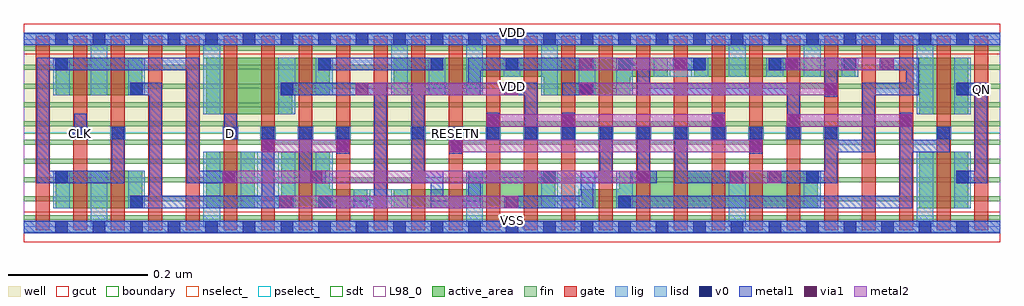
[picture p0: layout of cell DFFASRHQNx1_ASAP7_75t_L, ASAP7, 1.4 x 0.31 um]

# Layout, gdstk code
import gdstk
lib = gdstk.Library(unit=1e-6, precision=2.5e-10)
def R(c, l, rs):  # rectangles x0, y0, x1, y1
    for r in rs: c.add(gdstk.rectangle(r[:2], r[2:], *l))
def A(c, l, x, y, w, h, nx, ny, dx, dy):  # array of equal rectangles
    R(c, l, [(x+i*dx, y+j*dy, x+i*dx+w, y+j*dy+h) for i in range(nx) for j in range(ny)])
def P(c, l, *ps):  # polygons
    for p in ps: c.add(gdstk.Polygon(p, *l))
well = (1, 0)
fin = (2, 0)
gate = (7, 0)
gcut = (10, 0)
active_area = (11, 0)
nselect_ = (12, 0)
pselect_ = (13, 0)
lig = (16, 0)
lisd = (17, 0)
v0 = (18, 0)
metal1 = (19, 0)
metal2 = (20, 0)
via1 = (21, 0)
sdt = (88, 0)
L98_0 = (98, 0)
boundary = (100, 0)

dffasrhqnx1_asap7_75t_l = lib.new_cell('DFFASRHQNx1_ASAP7_75t_L')
R(dffasrhqnx1_asap7_75t_l, well, [(0,0.135,1.404,0.27)])
A(dffasrhqnx1_asap7_75t_l, fin, 0, 0.01, 1.404, 0.007, 1, 10, 0, 0.027)
A(dffasrhqnx1_asap7_75t_l, gate, 0.017, -0.005, 0.02, 0.28, 26, 1, 0.054, 0)
R(dffasrhqnx1_asap7_75t_l, gcut, [(0,-0.022,1.404,0.022), (0,0.248,1.404,0.292)])
R(dffasrhqnx1_asap7_75t_l, active_area, [(0.046,0.027,0.17,0.081), (0.262,0.027,0.332,0.108), (1.288,0.027,1.358,0.108), (1.288,0.162,1.358,0.243), (0.046,0.189,0.17,0.243), (0.964,0.216,1.196,0.243)])
P(dffasrhqnx1_asap7_75t_l, active_area, [(0.37,0.027),(0.37,0.108),(0.44,0.108),(0.44,0.054),(0.494,0.054),(0.494,0.027)],
  [(0.532,0.027),(0.532,0.054),(0.64,0.054),(0.64,0.081),(0.764,0.081),(0.764,0.027)],
  [(0.802,0.027),(0.802,0.054),(0.856,0.054),(0.856,0.081),(1.142,0.081),(1.142,0.027)],
  [(0.262,0.162),(0.262,0.243),(0.44,0.243),(0.44,0.189),(0.386,0.189),(0.386,0.162)],
  [(0.532,0.189),(0.532,0.243),(0.926,0.243),(0.926,0.216),(0.872,0.216),(0.872,0.189),(0.748,0.189),(0.748,0.216),(0.656,0.216),(0.656,0.189)])
R(dffasrhqnx1_asap7_75t_l, nselect_, [(0,0,1.404,0.135)])
R(dffasrhqnx1_asap7_75t_l, pselect_, [(0,0.135,1.404,0.27)])
A(dffasrhqnx1_asap7_75t_l, lig, 0.286, 0.126, 0.022, 0.018, 4, 1, 0.054, 0)
A(dffasrhqnx1_asap7_75t_l, lig, 0.556, 0.126, 0.022, 0.018, 12, 1, 0.054, 0)
R(dffasrhqnx1_asap7_75t_l, lig, [(0,-0.008,1.404,0.008), (0.07,0.126,0.092,0.144), (0.124,0.126,0.146,0.144), (1.312,0.126,1.334,0.144), (0,0.262,1.404,0.278)])
A(dffasrhqnx1_asap7_75t_l, lisd, 0.528, 0.189, 0.024, 0.081, 3, 1, 0.108, 0)
A(dffasrhqnx1_asap7_75t_l, lisd, 0.96, 0.216, 0.024, 0.027, 3, 1, 0.108, 0)
R(dffasrhqnx1_asap7_75t_l, lisd, [(0.096,0,0.12,0.081), (0.096,0,0.12,0.081), (0.258,0,0.282,0.108), (0.258,0,0.282,0.108), (0.636,0,0.66,0.081), (0.636,0,0.66,0.081), (1.014,0,1.038,0.081), (1.014,0,1.038,0.081), (1.284,0,1.308,0.108), (1.284,0,1.308,0.108), (0.042,0.027,0.066,0.081), (0.15,0.027,0.174,0.081), (0.312,0.027,0.39,0.108), (0.42,0.027,0.444,0.108), (0.474,0.027,0.552,0.054), (0.744,0.027,0.822,0.081), (0.744,0.027,0.768,0.081), (0.852,0.027,0.876,0.081), (1.122,0.027,1.146,0.081), (1.338,0.027,1.362,0.108), (0.258,0.162,0.282,0.27), (0.258,0.162,0.282,0.27), (0.366,0.162,0.39,0.243), (1.284,0.162,1.308,0.27), (1.284,0.162,1.308,0.27), (1.338,0.162,1.362,0.243), (0.042,0.189,0.066,0.243), (0.096,0.189,0.12,0.27), (0.096,0.189,0.12,0.27), (0.15,0.189,0.174,0.243), (0.42,0.189,0.444,0.243), (0.528,0.189,0.552,0.27), (0.582,0.189,0.606,0.243), (0.744,0.189,0.768,0.27), (0.798,0.189,0.822,0.243), (0.852,0.189,0.876,0.243), (0.69,0.216,0.714,0.243), (0.906,0.216,0.984,0.243), (1.014,0.216,1.038,0.27), (1.122,0.216,1.146,0.27)])
A(dffasrhqnx1_asap7_75t_l, v0, 0.045, -0.009, 0.018, 0.018, 25, 2, 0.054, 0.27)
A(dffasrhqnx1_asap7_75t_l, v0, 0.288, 0.126, 0.018, 0.018, 4, 1, 0.054, 0)
A(dffasrhqnx1_asap7_75t_l, v0, 0.558, 0.126, 0.018, 0.018, 12, 1, 0.054, 0)
A(dffasrhqnx1_asap7_75t_l, v0, 0.855, 0.225, 0.018, 0.018, 4, 1, 0.108, 0)
R(dffasrhqnx1_asap7_75t_l, v0, [(0.153,0.027,0.171,0.045), (0.423,0.027,0.441,0.045), (0.855,0.027,0.873,0.045), (0.045,0.063,0.063,0.081), (0.747,0.063,0.765,0.081), (1.125,0.063,1.143,0.081), (1.341,0.063,1.359,0.081), (0.072,0.126,0.09,0.144), (0.126,0.126,0.144,0.144), (1.314,0.126,1.332,0.144), (0.153,0.189,0.171,0.207), (0.369,0.189,0.387,0.207), (0.801,0.189,0.819,0.207), (1.341,0.189,1.359,0.207), (0.045,0.225,0.063,0.243), (0.423,0.225,0.441,0.243), (0.585,0.225,0.603,0.243), (0.693,0.225,0.711,0.243)])
A(dffasrhqnx1_asap7_75t_l, metal1, 0.288, 0.126, 0.018, 0.018, 4, 1, 0.054, 0)
A(dffasrhqnx1_asap7_75t_l, metal1, 0.558, 0.126, 0.018, 0.018, 12, 1, 0.054, 0)
A(dffasrhqnx1_asap7_75t_l, metal1, 0.585, 0.225, 0.018, 0.018, 3, 1, 0.108, 0)
A(dffasrhqnx1_asap7_75t_l, metal1, 0.855, 0.225, 0.018, 0.018, 3, 1, 0.108, 0)
R(dffasrhqnx1_asap7_75t_l, metal1, [(0,-0.009,1.404,0.009), (0.153,0.027,0.171,0.045), (0.423,0.027,0.441,0.045), (0.691,0.027,0.713,0.045), (0.855,0.027,0.873,0.045), (0.045,0.063,0.063,0.081), (0.288,0.063,0.306,0.081), (0.396,0.063,0.414,0.144), (0.414,0.063,0.434,0.081), (0.747,0.063,0.765,0.081), (0.872,0.063,0.91,0.081), (0.882,0.063,0.9,0.144), (1.017,0.063,1.035,0.081), (1.069,0.063,1.091,0.081), (1.125,0.063,1.143,0.081), (1.341,0.063,1.359,0.081), (0.45,0.105,0.468,0.125), (0.612,0.105,0.63,0.125), (1.044,0.105,1.062,0.125), (0.342,0.107,0.36,0.125), (0.45,0.107,0.468,0.144), (0.612,0.107,0.63,0.144), (1.044,0.107,1.062,0.144), (0.072,0.126,0.09,0.144), (0.072,0.126,0.09,0.163), (0.126,0.126,0.144,0.144), (0.288,0.126,0.306,0.163), (0.666,0.126,0.684,0.163), (0.774,0.126,0.792,0.163), (0.99,0.126,1.008,0.163), (1.314,0.126,1.332,0.144), (0.666,0.144,0.684,0.164), (0.774,0.144,0.792,0.164), (0.99,0.144,1.008,0.164), (1.098,0.144,1.116,0.162), (1.26,0.144,1.278,0.164), (1.152,0.187,1.17,0.207), (0.153,0.189,0.171,0.207), (0.369,0.189,0.387,0.207), (0.477,0.189,0.495,0.207), (0.691,0.189,0.713,0.207), (0.774,0.189,0.819,0.207), (0.801,0.189,0.819,0.207), (1.341,0.189,1.359,0.207), (0.045,0.225,0.063,0.243), (0.423,0.225,0.441,0.243), (0.423,0.225,0.603,0.243), (0.934,0.225,0.956,0.243), (0.936,0.225,0.981,0.243), (1.071,0.225,1.116,0.243), (1.098,0.225,1.116,0.243), (1.179,0.225,1.197,0.243), (1.231,0.225,1.253,0.243), (0,0.261,1.404,0.279)])
P(dffasrhqnx1_asap7_75t_l, metal1, [(1.071,0.063),(1.071,0.081),(1.152,0.081),(1.152,0.144),(1.17,0.144),(1.17,0.125),(1.206,0.125),(1.206,0.207),(1.269,0.207),(1.269,0.225),(1.233,0.225),(1.233,0.243),(1.287,0.243),(1.287,0.189),(1.224,0.189),(1.224,0.107),(1.17,0.107),(1.17,0.063)],
  [(0.018,0.063),(0.018,0.243),(0.252,0.243),(0.252,0.081),(0.306,0.081),(0.306,0.063),(0.234,0.063),(0.234,0.225),(0.036,0.225),(0.036,0.081),(0.126,0.081),(0.126,0.144),(0.144,0.144),(0.144,0.063)],
  [(0.153,0.027),(0.153,0.045),(0.18,0.045),(0.18,0.189),(0.153,0.189),(0.153,0.207),(0.198,0.207),(0.198,0.045),(0.342,0.045),(0.342,0.144),(0.36,0.144),(0.36,0.045),(0.387,0.045),(0.387,0.027)],
  [(0.693,0.027),(0.693,0.045),(0.801,0.045),(0.801,0.081),(0.828,0.081),(0.828,0.144),(0.846,0.144),(0.846,0.063),(0.819,0.063),(0.819,0.027)],
  [(0.423,0.027),(0.423,0.045),(0.504,0.045),(0.504,0.189),(0.369,0.189),(0.369,0.207),(0.522,0.207),(0.522,0.027)],
  [(0.72,0.126),(0.72,0.189),(0.693,0.189),(0.693,0.207),(0.738,0.207),(0.738,0.126)],
  [(0.585,0.027),(0.585,0.063),(0.558,0.063),(0.558,0.207),(0.639,0.207),(0.639,0.243),(0.819,0.243),(0.819,0.225),(0.657,0.225),(0.657,0.189),(0.576,0.189),(0.576,0.081),(0.603,0.081),(0.603,0.045),(0.639,0.045),(0.639,0.081),(0.765,0.081),(0.765,0.063),(0.657,0.063),(0.657,0.027)],
  [(1.152,0.189),(1.152,0.243),(1.197,0.243),(1.197,0.225),(1.17,0.225),(1.17,0.189)],
  [(1.098,0.126),(1.098,0.189),(0.882,0.189),(0.882,0.225),(0.855,0.225),(0.855,0.243),(0.9,0.243),(0.9,0.207),(1.116,0.207),(1.116,0.126)],
  [(0.855,0.027),(0.855,0.045),(1.26,0.045),(1.26,0.163),(1.278,0.163),(1.278,0.125),(1.314,0.125),(1.314,0.144),(1.332,0.144),(1.332,0.107),(1.278,0.107),(1.278,0.027)],
  [(0.936,0.063),(0.936,0.144),(0.954,0.144),(0.954,0.081),(1.035,0.081),(1.035,0.063)],
  [(1.341,0.063),(1.341,0.081),(1.368,0.081),(1.368,0.189),(1.341,0.189),(1.341,0.207),(1.386,0.207),(1.386,0.063)])
R(dffasrhqnx1_asap7_75t_l, metal2, [(0.367,0.027,0.711,0.045), (0.286,0.063,0.9,0.081), (1.015,0.063,1.089,0.081), (0.342,0.107,0.468,0.125), (0.612,0.107,1.062,0.125), (0.666,0.144,1.008,0.162), (1.098,0.144,1.278,0.162), (0.477,0.189,0.711,0.207), (0.799,0.189,1.17,0.207), (0.799,0.225,0.954,0.243), (1.096,0.225,1.251,0.243)])
R(dffasrhqnx1_asap7_75t_l, via1, [(0.367,0.027,0.385,0.045), (0.693,0.027,0.711,0.045), (0.286,0.063,0.304,0.081), (0.411,0.063,0.429,0.081), (0.882,0.063,0.9,0.081), (1.015,0.063,1.033,0.081), (1.071,0.063,1.089,0.081), (0.342,0.107,0.36,0.125), (0.45,0.107,0.468,0.125), (0.612,0.107,0.63,0.125), (1.044,0.107,1.062,0.125), (0.666,0.144,0.684,0.162), (0.774,0.144,0.792,0.162), (0.99,0.144,1.008,0.162), (1.098,0.144,1.116,0.162), (1.26,0.144,1.278,0.162), (0.477,0.189,0.495,0.207), (0.693,0.189,0.711,0.207), (0.799,0.189,0.817,0.207), (1.152,0.189,1.17,0.207), (0.799,0.225,0.817,0.243), (0.936,0.225,0.954,0.243), (1.096,0.225,1.114,0.243), (1.233,0.225,1.251,0.243)])
A(dffasrhqnx1_asap7_75t_l, sdt, 0.258, 0.027, 0.024, 0.081, 4, 1, 0.054, 0)
A(dffasrhqnx1_asap7_75t_l, sdt, 0.636, 0.027, 0.024, 0.054, 3, 1, 0.108, 0)
A(dffasrhqnx1_asap7_75t_l, sdt, 0.528, 0.189, 0.024, 0.054, 3, 1, 0.054, 0)
A(dffasrhqnx1_asap7_75t_l, sdt, 0.744, 0.189, 0.024, 0.054, 3, 1, 0.054, 0)
A(dffasrhqnx1_asap7_75t_l, sdt, 0.906, 0.216, 0.024, 0.027, 6, 1, 0.054, 0)
R(dffasrhqnx1_asap7_75t_l, sdt, [(0.042,0.027,0.066,0.081), (0.096,0.027,0.12,0.081), (0.096,0.027,0.12,0.081), (0.15,0.027,0.174,0.081), (0.258,0.027,0.282,0.108), (0.474,0.027,0.498,0.054), (0.528,0.027,0.552,0.054), (0.636,0.027,0.66,0.081), (0.798,0.027,0.822,0.054), (1.014,0.027,1.038,0.081), (1.014,0.027,1.038,0.081), (1.122,0.027,1.146,0.081), (1.284,0.027,1.308,0.108), (1.284,0.027,1.308,0.108), (1.338,0.027,1.362,0.108), (0.258,0.162,0.282,0.243), (0.258,0.162,0.282,0.243), (0.366,0.162,0.39,0.243), (1.284,0.162,1.308,0.243), (1.284,0.162,1.308,0.243), (1.338,0.162,1.362,0.243), (0.042,0.189,0.066,0.243), (0.096,0.189,0.12,0.243), (0.096,0.189,0.12,0.243), (0.15,0.189,0.174,0.243), (0.42,0.189,0.444,0.243), (0.528,0.189,0.552,0.243), (0.744,0.189,0.768,0.243), (0.69,0.216,0.714,0.243)])
R(dffasrhqnx1_asap7_75t_l, L98_0, [(0,0,1.404,0.27)])
R(dffasrhqnx1_asap7_75t_l, boundary, [(0,0,1.404,0.27)])
dffasrhqnx1_asap7_75t_l.add(gdstk.Label('VDD', (0.702,0.2025), layer=1, texttype=251))
dffasrhqnx1_asap7_75t_l.add(gdstk.Label('VSS', (0.702,-0.0675), layer=3, texttype=251))
dffasrhqnx1_asap7_75t_l.add(gdstk.Label('VSS', (0.702,0.009), layer=19, texttype=251))
dffasrhqnx1_asap7_75t_l.add(gdstk.Label('VDD', (0.702,0.279), layer=19, texttype=251))
dffasrhqnx1_asap7_75t_l.add(gdstk.Label('CLK', (0.081,0.135), layer=19, texttype=251))
dffasrhqnx1_asap7_75t_l.add(gdstk.Label('D', (0.297,0.135), layer=19, texttype=251))
dffasrhqnx1_asap7_75t_l.add(gdstk.Label('RESETN', (0.621,0.135), layer=19, texttype=251))
dffasrhqnx1_asap7_75t_l.add(gdstk.Label('SETN', (0.675,0.135), layer=19, texttype=251))
dffasrhqnx1_asap7_75t_l.add(gdstk.Label('QN', (1.377,0.198), layer=19, texttype=251))

lib.write_gds('DFFASRHQNx1_ASAP7_75t_L.gds')
